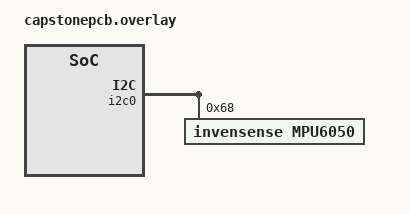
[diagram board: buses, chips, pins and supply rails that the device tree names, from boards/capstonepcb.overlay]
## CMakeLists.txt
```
# SPDX-License-Identifier: Apache-2.0

cmake_minimum_required(VERSION 3.20.0)

find_package(Zephyr REQUIRED HINTS $ENV{ZEPHYR_BASE})
project(capstone)

FILE(GLOB app_sources src/*.c)
target_sources(app PRIVATE ${app_sources})
```

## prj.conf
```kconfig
CONFIG_GPIO=y # loadswitch
CONFIG_LOG=y
CONFIG_LED_STRIP=y # LEDs
CONFIG_LED_STRIP_LOG_LEVEL_DBG=y #LEDs
CONFIG_PM_DEVICE=y # Sleep
CONFIG_POWEROFF=y #Sleep
CONFIG_I2C=y
CONFIG_SENSOR=y

CONFIG_REGULATOR=y
CONFIG_REGULATOR_FIXED=y

CONFIG_CONSOLE=y
CONFIG_RTT_CONSOLE=y
CONFIG_USE_SEGGER_RTT=y
CONFIG_PRINTK=y
```

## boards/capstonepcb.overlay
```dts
&i2c0 {
	mpu6050@68 {
		compatible = "invensense,mpu6050";
		reg = <0x68>;
		status = "okay";
        zephyr,deferred-init;
	};
};
```

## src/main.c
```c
/*
* Copyright (c) 2017 Linaro Limited
* Copyright (c) 2018 Intel Corporation
* Copyright (c) 2024 TOKITA Hiroshi
*
* SPDX-License-Identifier: Apache-2.0
*/

#include <errno.h>
#include <string.h>
#include <math.h>

#include <zephyr/logging/log.h>

#include <zephyr/kernel.h>
#include <zephyr/drivers/led_strip.h>
#include <zephyr/device.h>
#include <zephyr/sys/util.h>
#include <zephyr/drivers/gpio.h>
#include <zephyr/sys/poweroff.h>
#include <zephyr/drivers/regulator.h>
#include <zephyr/drivers/sensor.h>


#include "hsv2rgb.h"
#include "orientation.h"

#define DEBUG

// Define Devicetree Aliases
#define STRIP_NODE		DT_ALIAS(led_strip)

#define STRIP_NUM_PIXELS	16

#define CONFIG_SAMPLE_LED_UPDATE_DELAY 50
#define DELAY_TIME K_MSEC(CONFIG_SAMPLE_LED_UPDATE_DELAY)

#define LED_ENABLE DT_ALIAS(led_enable)
const struct device *enable_switch = DEVICE_DT_GET(LED_ENABLE);

#define BUTTON0 DT_ALIAS(sw0)

static const struct device *const strip = DEVICE_DT_GET(STRIP_NODE);
static const struct gpio_dt_spec button = GPIO_DT_SPEC_GET_OR(BUTTON0, gpios, {0});
const struct device *const mpu6050 = DEVICE_DT_GET_ONE(invensense_mpu6050);

#define MAX_BRIGHTNESS 0x25
// Create RGB Colors
#define RGB(_r, _g, _b) { .r = (_r), .g = (_g), .b = (_b) }

static const struct led_rgb red = RGB(MAX_BRIGHTNESS, 0x00, 0x00);
static struct led_rgb bluetoothColor = RGB(0x00, 0x00, MAX_BRIGHTNESS);

static struct gpio_callback button_cb_data;

static struct led_rgb pixels[STRIP_NUM_PIXELS];
static bool orientationInit;
static uint32_t prevTimeMs;
static bool sensorInit;

enum STATE {
    OFF, FIXED, WAVE, IMU
};

volatile enum STATE currentState = FIXED;

static enum STATE nextState(enum STATE currentState) {
    switch(currentState){
        case OFF:
            return FIXED;
            break;
        case FIXED:
            return WAVE;
            break;
        case WAVE:
            return IMU;
            break;
        case IMU:
            return OFF;
            break;
    }
    return FIXED;
}

static int process_mpu6050(const struct device *dev) {
    uint32_t currTimeMs = k_uptime_get_32();

    struct sensor_value accel[3];
	struct sensor_value gyro[3];
	int rc = sensor_sample_fetch(dev);

	if (rc == 0) {
		rc = sensor_channel_get(dev, SENSOR_CHAN_ACCEL_XYZ,
					accel);
	}
	if (rc == 0) {
		rc = sensor_channel_get(dev, SENSOR_CHAN_GYRO_XYZ,
					gyro);
	}



	if (rc == 0) {
		// printf("[%s]:%g Cel\n"
		//        "  accel %f %f %f m/s/s\n"
		//        "  gyro  %f %f %f rad/s\n",
		//        now_str(),
		//        sensor_value_to_double(&accel[0]),
		//        sensor_value_to_double(&accel[1]),
		//        sensor_value_to_double(&accel[2]),
		//        sensor_value_to_double(&gyro[0]),
		//        sensor_value_to_double(&gyro[1]),
		//        sensor_value_to_double(&gyro[2]));

        double accYval = sensor_value_to_double(&accel[1]) * 3.1415 / 180.0;
        double accXval = sensor_value_to_double(&accel[0]) * 3.1415 / 180.0;
        double accZval = sensor_value_to_double(&accel[2]) * 3.1415 / 180.0;
    
        double pitch = atan2(accYval, accZval);
        double roll = atan2(accXval, accZval);
    
        if (!orientationInit) {
            orientation_initialize(pitch, roll, 0.0);
            orientationInit = true;
        }
        else {
            update_pitch(pitch, sensor_value_to_double(&gyro[0]), (currTimeMs - prevTimeMs)/1000.0);
            update_roll(roll, sensor_value_to_double(&gyro[1]), (currTimeMs - prevTimeMs)/1000.0);
            update_yaw(sensor_value_to_double(&gyro[2]), (currTimeMs - prevTimeMs)/1000.0);
        }
	} else {
		printf("sample fetch/get failed: %d\n", rc);
	}

    prevTimeMs = currTimeMs;


	return rc;
}

// button callback to switch states
void buttonPressed(const struct device *dev, struct gpio_callback *cb, uint32_t pins) {
    currentState = nextState(currentState);
    printk("State %d\n", currentState);
}

int main(void)
{
    int err = 0;
    // Setup user push button
    err = gpio_pin_interrupt_configure_dt(&button, ( GPIO_INT_DISABLE));

    err = gpio_pin_configure_dt(&button, (GPIO_INPUT));
    if (err) {
        #ifdef DEBUG
        printk("Error %d: failed to configure button", err);
        #endif
        return 0;
    }
    err = gpio_pin_interrupt_configure_dt(&button, ( GPIO_INT_DISABLE));

	while (true) {
		int out = gpio_pin_get_dt(&button);
		if (out == 0) {
			break;
		}
		// printk("out: %i\n", out);

		k_sleep(K_MSEC(50));
	}

	if (!device_is_ready(enable_switch)) {
        printk("Regulator device not ready\n");
        return 0;
    }

	err = regulator_enable(enable_switch);
    if (err < 0) {
        printk("Failed to enable regulator: %d\n", err);
    } else {
        printk("Regulator enabled\n");
    }
	printf("enable on\n");



    err = gpio_pin_interrupt_configure_dt(&button, ( GPIO_INT_EDGE_TO_INACTIVE));
    if (err) {
        #ifdef DEBUG
        printf("Could not configure sw0 GPIO interrupt (%d)\n", err);
        #endif
        return 0;
    }

    gpio_init_callback(&button_cb_data, buttonPressed, BIT(button.pin));
    gpio_add_callback(button.port, &button_cb_data);

    // // Setup LED Strip
    if (device_is_ready(strip)) {
        #ifdef DEBUG
        printf("Found LED strip device %s", strip->name);
        #endif
    } 
    else {
        #ifdef DEBUG
        printf("LED strip device %s is not ready", strip->name);
        #endif
        return 0;
    }
    sensorInit = false;
    err = device_init(mpu6050);
	if (err) {
		printk("Sensor failed init %i \n", err);
		// return 0;
	}
    else {
        sensorInit = true;
    }
	if (!sensorInit && !device_is_ready(mpu6050)) {
		printk("sensor: device not ready.\n");
		// return 0;
	}
    orientationInit = false;
    currentState = FIXED;
    bool update = false;
    int idx = 0;
    while (1) {		
        if (sensorInit) {
            process_mpu6050(mpu6050);
        }
        else {
            err = device_init(mpu6050);
            if (!err) {
                sensorInit = true;
                printk("initialized sensor");
            }
        }
        switch(currentState) {
            case OFF:
                err = gpio_pin_interrupt_configure_dt(&button, ( GPIO_INT_DISABLE));

                err = regulator_disable(enable_switch);
                if (err < 0) {
                    printk("Failed to disable regulator: %d\n", err);
                } else {
                    printk("Regulator disabled\n");
                }

                memset(&pixels, 0x00, sizeof(pixels));
                for (size_t cursor = 0; cursor < STRIP_NUM_PIXELS; cursor++) {
                    memcpy(&pixels[cursor], &(struct led_rgb) RGB(0, 0, 0), sizeof(struct led_rgb));
                }
                err = led_strip_update_rgb(strip, pixels, STRIP_NUM_PIXELS);
                if (err) {
                    #ifdef DEBUG
                    printf("couldn't update strip: %d", err);
                    #endif
                }

                err = gpio_remove_callback(button.port, &button_cb_data);
                if (err) {
                    #ifdef DEBUG
                    printf("Could not remove callback (%d)\n", err);
                    #endif
                    return 0;
                }

                err = gpio_pin_interrupt_configure_dt(&button, 	GPIO_INT_LEVEL_ACTIVE);
                if (err) {
                    #ifdef DEBUG
                    printf("Could not configure sw0 GPIO interrupt (%d)\n", err);
                    #endif
                    return 0;
                }

                sys_poweroff();
                break;

            case FIXED:


                memset(&pixels, 0x00, sizeof(pixels));
                for (size_t cursor = 0; cursor < STRIP_NUM_PIXELS; cursor++) {
                    memcpy(&pixels[cursor], &red, sizeof(struct led_rgb));
                }
                update = true;
                
                break;
            case WAVE:                
                memset(&pixels, 0x00, sizeof(pixels));
                for (size_t cursor = 0; cursor < STRIP_NUM_PIXELS; cursor++) {
                    bluetoothColor = hsv2rgb((cursor + idx) % 360, 100, (MAX_BRIGHTNESS)/255.0 * 100);
                    memcpy(&pixels[cursor], &bluetoothColor, sizeof(struct led_rgb));
                }
                update = true;
                // idx = (idx + 1) % (3 * STRIP_NUM_PIXELS);
                idx = (idx + 8) % 360;
                break;
            case IMU:
                double rotation_magnitude = sqrt(pow(get_delta_pitch(), 2) + pow(get_delta_roll(), 2));
                
                if (rotation_magnitude > 1) {
                    idx += (int) rotation_magnitude;
                    idx = idx % (360);
                }

                bluetoothColor = hsv2rgb(idx, 100, (MAX_BRIGHTNESS)/255.0 * 100);

                memset(&pixels, 0x00, sizeof(pixels));
                for (size_t cursor = 0; cursor < STRIP_NUM_PIXELS; cursor++) {
                    memcpy(&pixels[cursor], &bluetoothColor, sizeof(struct led_rgb));
                }
                update = true;

                #ifdef DEBUG
                // printf("Pitch:%f,Yaw:%f,Roll:%f\n", get_delta_pitch(), get_delta_yaw(), get_delta_roll());
                #endif
                break;
        }
        
        if (update) {
            err = led_strip_update_rgb(strip, pixels, STRIP_NUM_PIXELS);
            if (err) {
                #ifdef DEBUG
                printf("couldn't update strip: %d", err);
                #endif
            }
            update = false;
        }

        k_sleep(DELAY_TIME);
    }

    return 0;
}
```

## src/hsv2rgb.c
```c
/***
 * Copied off internet hsv2rgb method
 */
#include "hsv2rgb.h"
#include <math.h>

struct led_rgb hsv2rgb(float H, float S, float V) {
	float r, g, b;
	
	float h = H / 360;
	float s = S / 100;
	float v = V / 100;
	
	int i = floor(h * 6);
	float f = h * 6 - i;
	float p = v * (1 - s);
	float q = v * (1 - f * s);
	float t = v * (1 - (1 - f) * s);
	
	switch (i % 6) {
		case 0: r = v, g = t, b = p; break;
		case 1: r = q, g = v, b = p; break;
		case 2: r = p, g = v, b = t; break;
		case 3: r = p, g = q, b = v; break;
		case 4: r = t, g = p, b = v; break;
		case 5: r = v, g = p, b = q; break;
		default: r = v, g = t, b = p; break;
	}
	
	struct led_rgb color;
	color.r = r * 255;
	color.g = g * 255;
	color.b = b * 255;
	
	return color;
}
```

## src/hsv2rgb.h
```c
#pragma once
#include <zephyr/drivers/led_strip.h>

struct led_rgb hsv2rgb(float H, float S, float V);
```

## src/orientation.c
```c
#include "orientation.h"


static double pitch;
static double roll;
static double yaw;

static double delta_pitch;
static double delta_roll;
static double delta_yaw;

void orientation_initialize(double initial_pitch, double initial_roll, double initial_yaw) {
    pitch = initial_pitch;
    roll = initial_roll;
    yaw = initial_yaw;
}

static void update_angle(double* angle, double* delta_angle, double acc, double gyro, double dt) {
    double prev_angle = *angle;
    *angle = 0.98 * (gyro*dt + (*angle)) + 0.02 * acc;

    *delta_angle = (*angle - prev_angle)/dt;

    while (*angle > 3.1415) {
        *angle -= 2 * 3.1415;
    }
    while (*angle < -3.1415) {
        *angle += 2 * 3.1415;
    }
}

void update_pitch(double acc, double gyro, double dt) {
    update_angle(&pitch, &delta_pitch, acc, gyro, dt);
}

void update_roll(double acc, double gyro, double dt) {
    update_angle(&roll, &delta_roll, acc, gyro, dt);
}

void update_yaw(double gyro, double dt) {
    yaw += gyro * dt;
    delta_yaw = gyro;

    while (yaw > 3.1415) {
        yaw -= 2 * 3.1415;
    }
    while (yaw < -3.1415) {
        yaw += 2 * 3.1415;
    }
}

double get_pitch() {
    return pitch;
}

double get_roll() {
    return roll;
}

double get_yaw() {
    return yaw;
}

double get_delta_pitch() {
    return delta_pitch;
}

double get_delta_roll() {
    return delta_roll;
}

double get_delta_yaw() {
    return delta_yaw;
}
```

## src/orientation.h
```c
#pragma once

void orientation_initialize(double initial_pitch, double initial_roll, double initial_yaw);
void update_pitch(double acc, double gyro, double dt);
void update_roll(double acc, double gyro, double dt);
void update_yaw(double gyro, double dt);


double get_pitch();
double get_roll();
double get_yaw();

double get_delta_pitch();
double get_delta_roll();
double get_delta_yaw();
```
